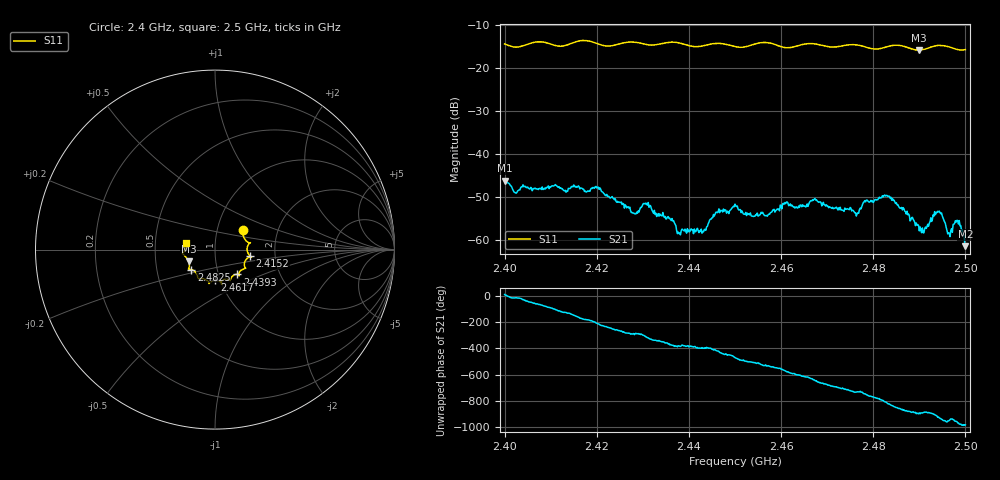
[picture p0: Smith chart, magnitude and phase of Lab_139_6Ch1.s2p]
# Hz S RI R 50
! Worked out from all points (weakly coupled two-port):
!   601 points, 2.4 GHz to 2.5 GHz, reference 50 ohm
!   highest |S21| = -46.26 dB at 2.4 GHz (marker M1); lowest = -61.5 dB at 2.5 GHz (marker M2)
!   lowest |S11| = -15.9 dB at 2.4898 GHz (marker M3), VSWR 1.38, Z = 36.9 - j4.88 ohm
!   |S11| at or under -10 dB: start of sweep to end of sweep
!   S12 and S22 are empty: the file has one direction only
!   S11 on the Smith chart (normalised r, x): 2.4 GHz: 1.33, +0.30; 2.4152 GHz: 1.48, -0.11; 2.4393 GHz: 1.23, -0.35; 2.4617 GHz: 0.94, -0.33; 2.4825 GHz: 0.75, -0.17; 2.5 GHz: 0.72, +0.05
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2.4e9  0.1553 0.1098  0.00474 0.00107  0 0  0 0
2.402333e9  0.1588 0.0714  0.00345 -0.000734  0 0  0 0
2.415167e9  0.1956 -0.0362  -0.00353 -0.00232  0 0  0 0
2.416667e9  0.2037 -0.0417  -0.00393 -0.000655  0 0  0 0
2.430667e9  0.1503 -0.1123  0.00176 0.002  0 0  0 0
2.433333e9  0.1331 -0.133  0.00192 0.000593  0 0  0 0
2.439333e9  0.1239 -0.1384  0.00113 -0.000528  0 0  0 0
2.443333e9  0.0891 -0.1589  0.00101 -0.00084  0 0  0 0
2.446e9  0.0848 -0.1732  0.00112 -0.00176  0 0  0 0
2.45e9  0.0664 -0.1643  -0.000867 -0.00244  0 0  0 0
2.454e9  0.0351 -0.1841  -0.00156 -0.00101  0 0  0 0
2.461667e9  0.00103 -0.1715  -0.0018 0.00171  0 0  0 0
2.466667e9  -0.0334 -0.1888  0.000135 0.00282  0 0  0 0
2.476333e9  -0.0943 -0.1596  0.00182 -0.000472  0 0  0 0
2.4825e9  -0.1326 -0.1112  1.83e-05 -0.0033  0 0  0 0
2.483333e9  -0.1402 -0.1103  -0.000869 -0.00309  0 0  0 0
2.489833e9  -0.1475 -0.0644  -0.00146 1.62e-05  0 0  0 0
2.491e9  -0.1569 -0.0477  -0.00118 -0.000208  0 0  0 0
2.494333e9  -0.1812 -0.0227  -0.00181 0.00116  0 0  0 0
2.496333e9  -0.1757 -0.0155  -0.000681 0.000982  0 0  0 0
2.4985e9  -0.1623 0.00921  -0.000466 0.00144  0 0  0 0
2.5e9  -0.1596 0.035  -5.52e-05 0.000836  0 0  0 0
